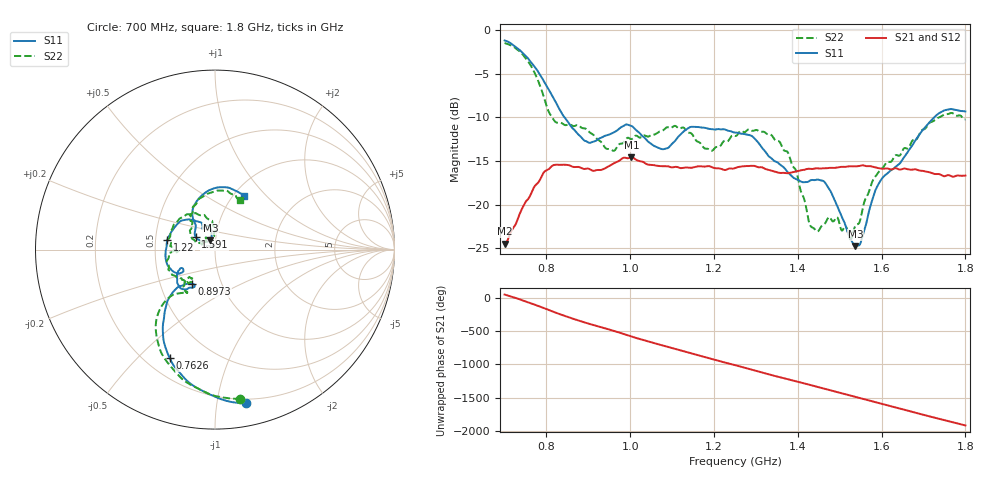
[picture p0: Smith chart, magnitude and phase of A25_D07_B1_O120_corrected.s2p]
! Created with skrf 1.9.0 (http://scikit-rf.org).
# Hz S RI R 50.0
!freq ReS11 ImS11 ReS21 ImS21 ReS12 ImS12 ReS22 ImS22
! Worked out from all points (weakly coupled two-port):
!   1601 points, 700 MHz to 1.8 GHz, reference 50 ohm
!   highest |S21| = -14.58 dB at 1.002 GHz (marker M1); lowest = -24.5 dB at 700.7 MHz (marker M2)
!   lowest |S11| = -24.7 dB at 1.537 GHz (marker M3), VSWR 1.12, Z = 47.2 + j4.9 ohm
!   |S11| at or under -10 dB: 843.1 MHz to 1.725 GHz (882.2 MHz wide, 68.7 % of centre)
!   |S22| runs from -24.0 to -1.5 dB; largest |S21 - S12| = 0.0036
!   S11 on the Smith chart (normalised r, x): 700 MHz: 0.17, -1.21; 762.6 MHz: 0.29, -0.63; 897.3 MHz: 0.73, -0.29; 1.22 GHz: 0.58, +0.06; 1.591 GHz: 0.80, +0.12; 1.8 GHz: 1.12, +0.76
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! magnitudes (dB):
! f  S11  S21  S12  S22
! 700 MHz  -1.2  -24.5  -24.2  -1.5
! 700.7 MHz  -1.2  -24.5  -24.1  -1.5
! 762.6 MHz  -3.7  -18.8  -18.8  -4.1
! 817.6 MHz  -7.8  -15.4  -15.6  -10.3
! 883.6 MHz  -12.3  -15.8  -15.7  -11.2
! 897.3 MHz  -12.8  -15.9  -15.9  -11.4
! 957.8 MHz  -11.8  -15.3  -15.3  -13.8
! 1.002 GHz  -11.0  -14.6  -14.7  -12.5
! 1.067 GHz  -13.5  -15.6  -15.5  -11.7
! 1.144 GHz  -11.1  -15.8  -15.8  -11.8
! 1.22 GHz  -11.4  -16.0  -16.0  -12.9
! 1.25 GHz  -11.7  -15.8  -15.7  -12.1
! 1.357 GHz  -15.4  -16.4  -16.3  -12.8
! 1.395 GHz  -17.0  -16.2  -16.2  -16.0
! 1.434 GHz  -17.2  -15.9  -15.9  -22.6
! 1.471 GHz  -17.9  -15.8  -15.8  -21.6
! 1.526 GHz  -23.9  -15.6  -15.6  -24.0
! 1.537 GHz  -24.7  -15.6  -15.6  -22.4
! 1.591 GHz  -17.8  -15.8  -15.8  -16.4
! 1.617 GHz  -16.3  -15.9  -15.9  -15.1
! 1.733 GHz  -9.6  -16.5  -16.5  -10.1
! 1.8 GHz  -9.3  -16.7  -16.7  -10.2
